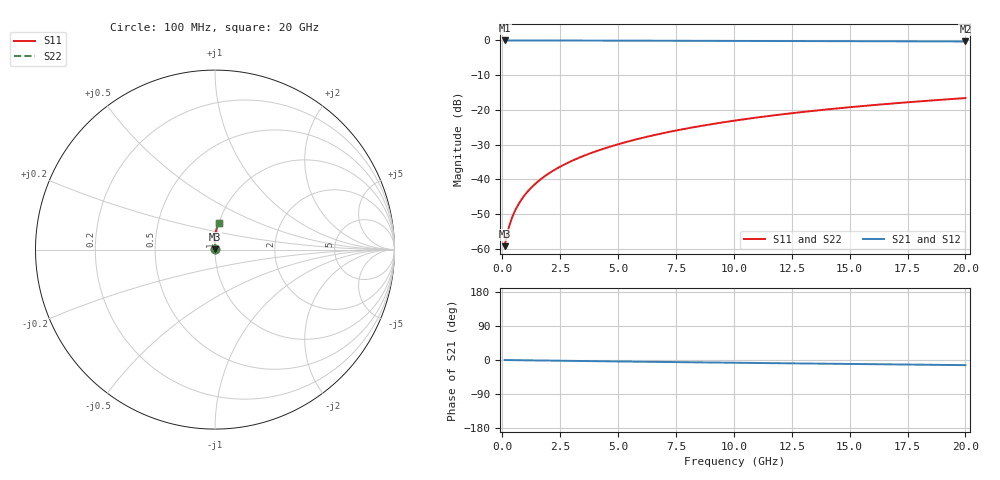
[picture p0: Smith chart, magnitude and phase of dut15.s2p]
! Touchstone file exported from HFSS 2024.1.0
!  File:  C:/UserFiles/LocalFiles/RDL_TSV_Batchsim/temp_RDL_bottom_15_1778691473.aedt
!  Generated:  01:00:44 AM May 14, 2026
!  Design:  RDL_bottom
!  Project:  temp_RDL_bottom_15_1778691473
!  Setup:  Setup1
!  Solution:  Sweep
! Variables:
!  dtsv = 10.80580581um
!  hbump = 3um
!  htsv = 95.03um
!  ldown = 154.17um
!  lrdl = 100um
!  p = 40
!  p1 = 56.61um
!  rhole = 1um
!  t = 450um
!  tdown = 3.28um
!  trdl = 3.915915916um
!  wdown = 28.14um
!  wrdl = 20um
# GHz S MA R 50.000000
! Terminal data exported
! Port[1] = RDL1_T1
! Port[2] = RDL1_T2
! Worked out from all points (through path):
!   200 points, 100 MHz to 20 GHz, reference 50 ohm
!   highest |S21| = -0.01 dB at 100 MHz (marker M1); lowest = -0.3 dB at 20 GHz (marker M2)
!   group delay of S21, straight-line fit = 1.86 ps
!   lowest |S11| = -59.3 dB at 100 MHz (marker M3), VSWR 1.00, Z = 50.1 + j0.0662 ohm
!   |S11| at or under -10 dB: start of sweep to end of sweep
!   |S22| runs from -59.3 to -16.6 dB; largest |S21 - S12| = 2.4e-15
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0.1  0.001089 37.4  0.9991 -0.1  0.9991 -0.1  0.001089 37.4
! Gamma 0 0 0 0
! Port Impedance 50 0 50 0
0.2  0.001582 55.1  0.9991 -0.2  0.9991 -0.2  0.001582 55.1
0.3  0.002127 63.7  0.999 -0.2  0.999 -0.2  0.002127 63.7
0.4  0.002682 68.8  0.999 -0.3  0.999 -0.3  0.002682 68.8
0.5  0.003241 72.3  0.9989 -0.4  0.9989 -0.4  0.003241 72.3
0.6  0.003804 74.9  0.9988 -0.5  0.9988 -0.5  0.003804 74.9
0.8  0.004946 78.6  0.9987 -0.6  0.9987 -0.6  0.004946 78.6
1.1  0.006689 82.1  0.9986 -0.9  0.9986 -0.9  0.006689 82.1
1.5  0.009061 85.0  0.9983 -1.2  0.9983 -1.2  0.009061 85.0
1.8  0.01087 86.4  0.998 -1.4  0.998 -1.4  0.01087 86.4
2.1  0.01271 87.6  0.9977 -1.7  0.9977 -1.7  0.01271 87.6
2.7  0.01647 89.2  0.9969 -2.1  0.9969 -2.1  0.01647 89.2
3.5  0.02166 90.6  0.9957 -2.7  0.9957 -2.7  0.02166 90.6
4.2  0.02637 91.4  0.9945 -3.3  0.9945 -3.3  0.02637 91.4
5  0.03194 91.9  0.9931 -3.8  0.9931 -3.8  0.03194 91.9
5.9  0.03843 92.1  0.9913 -4.5  0.9913 -4.5  0.03842 92.1
6.8  0.0451 92.0  0.9896 -5.1  0.9896 -5.1  0.0451 92.0
8.4  0.0573 91.4  0.9864 -6.2  0.9864 -6.2  0.0573 91.4
10.1  0.07055 90.3  0.9832 -7.3  0.9832 -7.3  0.07055 90.3
13.4  0.09656 87.8  0.9774 -9.4  0.9774 -9.4  0.09656 87.7
16.7  0.1224 85.0  0.9719 -11.5  0.9719 -11.5  0.1224 85.0
20  0.1478 82.3  0.9665 -13.6  0.9665 -13.6  0.1478 82.3
